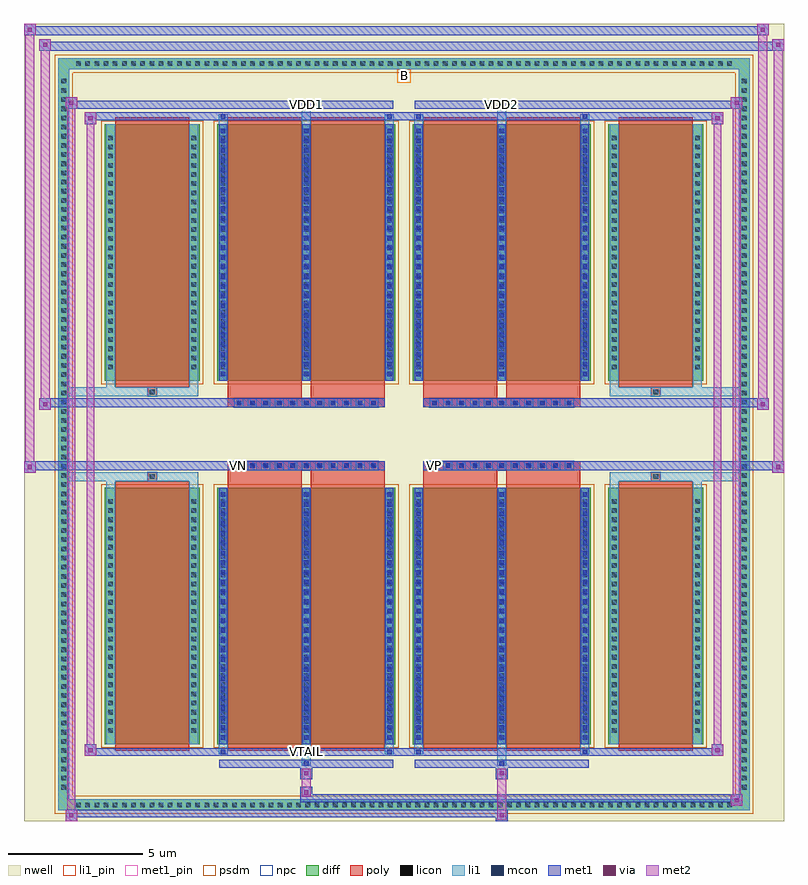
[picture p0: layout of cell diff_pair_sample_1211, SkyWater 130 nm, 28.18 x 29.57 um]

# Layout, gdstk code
import gdstk
lib = gdstk.Library(unit=1e-6, precision=5e-09)
def R(c, l, rs):  # rectangles x0, y0, x1, y1
    for r in rs: c.add(gdstk.rectangle(r[:2], r[2:], *l))
def A(c, l, x, y, w, h, nx, ny, dx, dy):  # array of equal rectangles
    R(c, l, [(x+i*dx, y+j*dy, x+i*dx+w, y+j*dy+h) for i in range(nx) for j in range(ny)])
def P(c, l, *ps):  # polygons
    for p in ps: c.add(gdstk.Polygon(p, *l))
nwell = (64, 20)
diff = (65, 20)
poly = (66, 20)
licon = (66, 44)
li1_pin = (67, 16)
li1 = (67, 20)
mcon = (67, 44)
met1_pin = (68, 16)
met1 = (68, 20)
via = (68, 44)
met2 = (69, 20)
psdm = (94, 20)
npc = (95, 20)

diff_pair_sample_1211 = lib.new_cell('diff_pair_sample_1211')
R(diff_pair_sample_1211, nwell, [(-14.09,-14.35,14.09,15.22), (-11.41,-12.54,-0.01,-0.8), (0.01,-12.54,11.41,-0.8), (-11.41,0.8,-0.01,12.54), (0.01,0.8,11.41,12.54)])
A(diff_pair_sample_1211, diff, -12.275, -13.95, 0.41, 0.41, 72, 2, 0.34, 27.49)
A(diff_pair_sample_1211, diff, -12.82, -13.295, 0.41, 0.41, 1, 78, 0, 0.34)
A(diff_pair_sample_1211, diff, 12.41, -13.295, 0.41, 0.41, 1, 78, 0, 0.34)
R(diff_pair_sample_1211, diff, [(-12.275,-13.95,12.275,-13.54), (-12.82,-13.295,-12.41,13.295), (12.41,-13.295,12.82,13.295), (-11.1,-11.495,-7.57,-1.985), (-6.93,-11.495,-0.32,-1.985), (0.32,-11.495,6.93,-1.985), (7.57,-11.495,11.1,-1.985), (-11.1,1.985,-7.57,11.495), (-6.93,1.985,-0.32,11.495), (0.32,1.985,6.93,11.495), (7.57,1.985,11.1,11.495), (-12.275,13.54,12.275,13.95)])
P(diff_pair_sample_1211, diff, [(12.82,13.95),(-12.82,13.95),(-12.82,-13.54),(-12.41,-13.54),(-12.41,13.54),(12.41,13.54),(12.41,-13.54),(-12.41,-13.54),(-12.82,-13.54),(-12.82,-13.95),(12.82,-13.95)])
A(diff_pair_sample_1211, poly, -6.29, -1.33, 0.33, 0.33, 11, 2, 0.5, 2.33)
A(diff_pair_sample_1211, poly, 0.96, -1.33, 0.33, 0.33, 11, 2, 0.5, 2.33)
R(diff_pair_sample_1211, poly, [(-10.71,-11.745,-7.96,-1.735), (-6.54,-11.745,-3.79,-1.735), (-3.46,-11.745,-0.71,-1.735), (0.71,-11.745,3.46,-1.735), (3.79,-11.745,6.54,-1.735), (7.96,-11.745,10.71,-1.735), (-9.5,-1.735,-9.17,-1.405), (-9.5,-1.735,-9.17,-1.405), (-6.54,-1.735,-3.79,-1.33), (-3.46,-1.735,-0.71,-1.33), (0.71,-1.735,3.46,-1.33), (3.79,-1.735,6.54,-1.33), (9.17,-1.735,9.5,-1.405), (9.17,-1.735,9.5,-1.405), (-6.54,-1.33,-0.71,-1), (0.71,-1.33,6.54,-1), (-6.54,1,-0.71,1.33), (0.71,1,6.54,1.33), (-6.54,1.33,-3.79,1.735), (-3.46,1.33,-0.71,1.735), (0.71,1.33,3.46,1.735), (3.79,1.33,6.54,1.735), (-9.5,1.405,-9.17,1.735), (-9.5,1.405,-9.17,1.735), (9.17,1.405,9.5,1.735), (9.17,1.405,9.5,1.735), (-10.71,1.735,-7.96,11.745), (-6.54,1.735,-3.79,11.745), (-3.46,1.735,-0.71,11.745), (0.71,1.735,3.46,11.745), (3.79,1.735,6.54,11.745), (7.96,1.735,10.71,11.745)])
A(diff_pair_sample_1211, licon, -12.155, -13.83, 0.17, 0.17, 72, 2, 0.34, 27.49)
A(diff_pair_sample_1211, licon, -12.7, -13.175, 0.17, 0.17, 1, 78, 0, 0.34)
A(diff_pair_sample_1211, licon, 12.53, -13.175, 0.17, 0.17, 1, 78, 0, 0.34)
A(diff_pair_sample_1211, licon, -10.96, -11.075, 0.17, 0.17, 1, 26, 0, 0.34)
A(diff_pair_sample_1211, licon, -7.88, -11.075, 0.17, 0.17, 1, 26, 0, 0.34)
A(diff_pair_sample_1211, licon, -6.79, -11.075, 0.17, 0.17, 3, 26, 3.08, 0.34)
A(diff_pair_sample_1211, licon, 0.46, -11.075, 0.17, 0.17, 3, 26, 3.08, 0.34)
A(diff_pair_sample_1211, licon, 7.71, -11.075, 0.17, 0.17, 1, 26, 0, 0.34)
A(diff_pair_sample_1211, licon, 10.79, -11.075, 0.17, 0.17, 1, 26, 0, 0.34)
A(diff_pair_sample_1211, licon, -6.21, -1.25, 0.17, 0.17, 11, 2, 0.5, 2.33)
A(diff_pair_sample_1211, licon, 1.04, -1.25, 0.17, 0.17, 11, 2, 0.5, 2.33)
A(diff_pair_sample_1211, licon, -10.96, 2.405, 0.17, 0.17, 1, 26, 0, 0.34)
A(diff_pair_sample_1211, licon, -7.88, 2.405, 0.17, 0.17, 1, 26, 0, 0.34)
A(diff_pair_sample_1211, licon, -6.79, 2.405, 0.17, 0.17, 3, 26, 3.08, 0.34)
A(diff_pair_sample_1211, licon, 0.46, 2.405, 0.17, 0.17, 3, 26, 3.08, 0.34)
A(diff_pair_sample_1211, licon, 7.71, 2.405, 0.17, 0.17, 1, 26, 0, 0.34)
A(diff_pair_sample_1211, licon, 10.79, 2.405, 0.17, 0.17, 1, 26, 0, 0.34)
R(diff_pair_sample_1211, licon, [(-9.42,-1.655,-9.25,-1.485), (9.25,-1.655,9.42,-1.485), (-9.42,1.485,-9.25,1.655), (9.25,1.485,9.42,1.655)])
R(diff_pair_sample_1211, li1_pin, [(-0.25,13.04,0.25,13.54)])
A(diff_pair_sample_1211, li1, -12.235, -13.91, 0.33, 0.33, 72, 2, 0.34, 27.49)
A(diff_pair_sample_1211, li1, -12.78, -13.255, 0.33, 0.33, 1, 78, 0, 0.34)
A(diff_pair_sample_1211, li1, 12.45, -13.255, 0.33, 0.33, 1, 78, 0, 0.34)
A(diff_pair_sample_1211, li1, -6.87, -11.495, 0.33, 9.51, 3, 2, 3.08, 13.48)
A(diff_pair_sample_1211, li1, 0.38, -11.495, 0.33, 9.51, 3, 2, 3.08, 13.48)
A(diff_pair_sample_1211, li1, -6.79, -11.325, 0.17, 0.17, 3, 26, 3.08, 0.36)
A(diff_pair_sample_1211, li1, -6.79, -11.325, 0.17, 9.17, 3, 2, 3.08, 13.48)
A(diff_pair_sample_1211, li1, 0.46, -11.325, 0.17, 0.17, 3, 26, 3.08, 0.36)
A(diff_pair_sample_1211, li1, 0.46, -11.325, 0.17, 9.17, 3, 2, 3.08, 13.48)
A(diff_pair_sample_1211, li1, -11.04, -11.155, 0.33, 0.33, 1, 26, 0, 0.34)
A(diff_pair_sample_1211, li1, -7.96, -11.155, 0.33, 0.33, 1, 26, 0, 0.34)
A(diff_pair_sample_1211, li1, -6.87, -11.155, 0.33, 0.33, 3, 26, 3.08, 0.34)
A(diff_pair_sample_1211, li1, 0.38, -11.155, 0.33, 0.33, 3, 26, 3.08, 0.34)
A(diff_pair_sample_1211, li1, 7.63, -11.155, 0.33, 0.33, 1, 26, 0, 0.34)
A(diff_pair_sample_1211, li1, 10.71, -11.155, 0.33, 0.33, 1, 26, 0, 0.34)
A(diff_pair_sample_1211, li1, -6.29, -1.33, 0.33, 0.33, 11, 2, 0.5, 2.33)
A(diff_pair_sample_1211, li1, 0.96, -1.33, 0.33, 0.33, 11, 2, 0.5, 2.33)
A(diff_pair_sample_1211, li1, -6.79, 2.155, 0.17, 0.17, 3, 26, 3.08, 0.36)
A(diff_pair_sample_1211, li1, 0.46, 2.155, 0.17, 0.17, 3, 26, 3.08, 0.36)
A(diff_pair_sample_1211, li1, -11.04, 2.325, 0.33, 0.33, 1, 26, 0, 0.34)
A(diff_pair_sample_1211, li1, -7.96, 2.325, 0.33, 0.33, 1, 26, 0, 0.34)
A(diff_pair_sample_1211, li1, -6.87, 2.325, 0.33, 0.33, 3, 26, 3.08, 0.34)
A(diff_pair_sample_1211, li1, 0.38, 2.325, 0.33, 0.33, 3, 26, 3.08, 0.34)
A(diff_pair_sample_1211, li1, 7.63, 2.325, 0.33, 0.33, 1, 26, 0, 0.34)
A(diff_pair_sample_1211, li1, 10.71, 2.325, 0.33, 0.33, 1, 26, 0, 0.34)
R(diff_pair_sample_1211, li1, [(-12.82,-13.95,-12.41,-13.54), (-12.82,-13.95,-12.41,-13.54), (-12.41,-13.95,12.41,-13.54), (12.41,-13.95,12.82,-13.54), (12.41,-13.95,12.82,-13.54), (-12.82,-13.54,-12.41,13.54), (12.41,-13.54,12.82,13.54), (-3.79,-12.3,-3.46,-11.495), (-3.71,-12.3,-3.54,-12.13), (3.46,-12.3,3.79,-11.495), (3.54,-12.3,3.71,-12.13), (-6.87,-11.87,-6.54,-11.495), (-6.79,-11.87,-6.62,-11.7), (-0.71,-11.87,-0.38,-11.495), (-0.63,-11.87,-0.46,-11.7), (0.38,-11.87,0.71,-11.495), (0.46,-11.87,0.63,-11.7), (6.54,-11.87,6.87,-11.495), (6.62,-11.87,6.79,-11.7), (-11.04,-11.495,-10.71,-1.985), (-7.96,-11.495,-7.63,-1.985), (7.63,-11.495,7.96,-1.985), (10.71,-11.495,11.04,-1.985), (-11.04,-1.985,-10.71,-1.405), (-7.96,-1.985,-7.63,-1.405), (7.63,-1.985,7.96,-1.405), (10.71,-1.985,11.04,-1.405), (-12.82,-1.735,-9.5,-1.405), (-11.04,-1.735,-9.5,-1.405), (-9.5,-1.735,-9.17,-1.405), (-9.17,-1.735,-7.63,-1.405), (7.63,-1.735,9.17,-1.405), (9.17,-1.735,9.5,-1.405), (9.17,-1.735,12.82,-1.405), (9.5,-1.735,11.04,-1.405), (-12.82,1.405,-9.5,1.735), (-11.04,1.405,-9.5,1.735), (-11.04,1.405,-10.71,1.985), (-9.5,1.405,-9.17,1.735), (-9.17,1.405,-7.63,1.735), (-7.96,1.405,-7.63,1.985), (7.63,1.405,9.17,1.735), (7.63,1.405,7.96,1.985), (9.17,1.405,9.5,1.735), (9.17,1.405,12.82,1.735), (9.5,1.405,11.04,1.735), (10.71,1.405,11.04,1.985), (-11.04,1.985,-10.71,11.495), (-7.96,1.985,-7.63,11.495), (7.63,1.985,7.96,11.495), (10.71,1.985,11.04,11.495), (-6.87,11.495,-6.54,11.87), (-3.79,11.495,-3.46,12.3), (-0.71,11.495,-0.38,11.87), (0.38,11.495,0.71,11.87), (3.46,11.495,3.79,12.3), (6.54,11.495,6.87,11.87), (-6.79,11.7,-6.62,11.87), (-0.63,11.7,-0.46,11.87), (0.46,11.7,0.63,11.87), (6.62,11.7,6.79,11.87), (-3.71,12.13,-3.54,12.3), (3.54,12.13,3.71,12.3), (-12.82,13.54,-12.41,13.95), (-12.82,13.54,-12.41,13.95), (-12.41,13.54,12.41,13.95), (12.41,13.54,12.82,13.95), (12.41,13.54,12.82,13.95)])
A(diff_pair_sample_1211, mcon, -6.79, -11.325, 0.17, 0.17, 3, 26, 3.08, 0.36)
A(diff_pair_sample_1211, mcon, 0.46, -11.325, 0.17, 0.17, 3, 26, 3.08, 0.36)
A(diff_pair_sample_1211, mcon, -6.21, -1.25, 0.17, 0.17, 11, 2, 0.5, 2.33)
A(diff_pair_sample_1211, mcon, 1.04, -1.25, 0.17, 0.17, 11, 2, 0.5, 2.33)
A(diff_pair_sample_1211, mcon, -6.79, 2.155, 0.17, 0.17, 3, 26, 3.08, 0.36)
A(diff_pair_sample_1211, mcon, 0.46, 2.155, 0.17, 0.17, 3, 26, 3.08, 0.36)
R(diff_pair_sample_1211, mcon, [(-3.71,-12.3,-3.54,-12.13), (3.54,-12.3,3.71,-12.13), (-6.79,-11.87,-6.62,-11.7), (-0.63,-11.87,-0.46,-11.7), (0.46,-11.87,0.63,-11.7), (6.62,-11.87,6.79,-11.7), (-6.79,11.7,-6.62,11.87), (-0.63,11.7,-0.46,11.87), (0.46,11.7,0.63,11.87), (6.62,11.7,6.79,11.87), (-3.71,12.13,-3.54,12.3), (3.54,12.13,3.71,12.3)])
R(diff_pair_sample_1211, met1_pin, [(-3.76,-11.91,-3.49,-11.64), (-6.26,-1.29,-5.99,-1.02), (0.99,-1.29,1.26,-1.02), (-3.76,12.09,-3.49,12.36), (3.49,12.09,3.76,12.36)])
A(diff_pair_sample_1211, met1, -6.85, -11.495, 0.29, 9.51, 3, 2, 3.08, 13.48)
A(diff_pair_sample_1211, met1, 0.4, -11.495, 0.29, 9.51, 3, 2, 3.08, 13.48)
A(diff_pair_sample_1211, met1, -6.85, -11.385, 0.29, 0.29, 3, 26, 3.08, 0.36)
A(diff_pair_sample_1211, met1, 0.4, -11.385, 0.29, 0.29, 3, 26, 3.08, 0.36)
A(diff_pair_sample_1211, met1, -6.27, -1.31, 0.29, 0.29, 11, 2, 0.5, 2.33)
A(diff_pair_sample_1211, met1, 0.98, -1.31, 0.29, 0.29, 11, 2, 0.5, 2.33)
A(diff_pair_sample_1211, met1, -6.85, 2.095, 0.29, 0.29, 3, 26, 3.08, 0.36)
A(diff_pair_sample_1211, met1, 0.4, 2.095, 0.29, 0.29, 3, 26, 3.08, 0.36)
R(diff_pair_sample_1211, met1, [(-12.55,-14.35,-12.12,-13.92), (3.41,-14.35,3.84,-13.92), (-12.55,-14.21,3.84,-13.92), (12.12,-13.78,12.55,-13.35), (-3.84,-13.64,12.55,-13.35), (-3.84,-13.5,-3.41,-13.07), (-3.84,-12.79,-3.41,-12.36), (3.41,-12.79,3.84,-12.36), (-6.85,-12.36,-0.4,-12.07), (-3.77,-12.36,-3.48,-12.07), (0.4,-12.36,6.85,-12.07), (3.48,-12.36,3.77,-12.07), (-11.84,-11.93,-11.41,-11.5), (-11.84,-11.93,-6.85,-11.64), (-6.85,-11.93,-6.56,-11.64), (-6.85,-11.93,-0.4,-11.64), (-0.69,-11.93,-0.4,-11.64), (-0.4,-11.93,0.4,-11.64), (0.4,-11.93,0.69,-11.64), (0.4,-11.93,6.85,-11.64), (6.56,-11.93,6.85,-11.64), (6.85,-11.93,11.84,-11.64), (11.41,-11.93,11.84,-11.5), (-14.09,-1.43,-13.66,-1), (13.66,-1.43,14.09,-1), (-14.09,-1.33,-0.71,-1), (-6.54,-1.33,-0.71,-1), (0.71,-1.33,6.54,-1), (0.71,-1.33,14.09,-1), (-13.52,0.9,-13.09,1.33), (13.09,0.9,13.52,1.33), (-13.52,1,-6.54,1.33), (-6.54,1,-0.71,1.33), (0.71,1,6.54,1.33), (6.54,1,13.52,1.33), (-11.84,11.5,-11.41,11.93), (11.41,11.5,11.84,11.93), (-11.84,11.64,-6.85,11.93), (-6.85,11.64,-6.56,11.93), (-6.85,11.64,-0.4,11.93), (-0.69,11.64,-0.4,11.93), (-0.4,11.64,0.4,11.93), (0.4,11.64,0.69,11.93), (0.4,11.64,6.85,11.93), (6.56,11.64,6.85,11.93), (6.85,11.64,11.84,11.93), (-12.55,12.07,-12.12,12.5), (-12.55,12.07,-6.85,12.36), (-6.85,12.07,-0.4,12.36), (-3.77,12.07,-3.48,12.36), (0.4,12.07,6.85,12.36), (3.48,12.07,3.77,12.36), (6.85,12.07,12.55,12.36), (12.12,12.07,12.55,12.5), (-13.52,14.22,-13.09,14.65), (-13.52,14.22,-11.41,14.55), (-11.41,14.22,11.41,14.55), (11.41,14.22,14.09,14.55), (13.66,14.22,14.09,14.65), (-14.09,14.79,-13.66,15.22), (-14.09,14.79,-11.41,15.12), (-11.41,14.79,11.41,15.12), (11.41,14.79,13.52,15.12), (13.09,14.79,13.52,15.22)])
R(diff_pair_sample_1211, via, [(-12.41,-14.21,-12.26,-14.06), (3.55,-14.21,3.7,-14.06), (12.26,-13.64,12.41,-13.49), (-3.7,-13.36,-3.55,-13.21), (-3.7,-12.65,-3.55,-12.5), (3.55,-12.65,3.7,-12.5), (-11.7,-11.79,-11.55,-11.64), (11.55,-11.79,11.7,-11.64), (-13.95,-1.29,-13.8,-1.14), (13.8,-1.29,13.95,-1.14), (-13.38,1.04,-13.23,1.19), (13.23,1.04,13.38,1.19), (-11.7,11.64,-11.55,11.79), (11.55,11.64,11.7,11.79), (-12.41,12.21,-12.26,12.36), (12.26,12.21,12.41,12.36), (-13.38,14.36,-13.23,14.51), (13.8,14.36,13.95,14.51), (-13.95,14.93,-13.8,15.08), (13.23,14.93,13.38,15.08)])
R(diff_pair_sample_1211, met2, [(-12.55,-14.35,-12.12,-13.92), (-12.48,-14.35,-12.19,12.5), (-12.19,-14.35,-12.12,-13.92), (-12.5,-14.3,-12.17,-13.97), (3.46,-14.3,3.79,-13.97), (3.46,-13.97,3.79,-12.74), (12.12,-13.78,12.55,-13.35), (12.19,-13.78,12.48,12.5), (12.48,-13.78,12.55,-13.35), (12.17,-13.73,12.5,-13.4), (-3.79,-13.45,-3.46,-13.12), (-3.79,-13.12,-3.46,-12.74), (-3.79,-12.74,-3.46,-12.41), (3.46,-12.74,3.79,-12.41), (-11.84,-11.93,-11.41,-11.5), (-11.77,-11.93,-11.48,11.93), (-11.48,-11.93,-11.41,-11.5), (11.41,-11.93,11.84,-11.5), (11.48,-11.93,11.77,11.93), (11.77,-11.93,11.84,-11.5), (-11.79,-11.88,-11.46,-11.55), (11.46,-11.88,11.79,-11.55), (-14.09,-1.43,-13.66,-1), (-14.04,-1.43,-13.71,15.22), (-13.71,-1.43,-13.66,-1), (13.66,-1.43,14.09,-1), (13.71,-1.43,14.04,14.65), (14.04,-1.43,14.09,-1), (-14.04,-1.38,-13.71,-1.05), (13.71,-1.38,14.04,-1.05), (-13.52,0.9,-13.09,1.33), (-13.47,0.9,-13.14,14.65), (-13.14,0.9,-13.09,1.33), (13.09,0.9,13.52,1.33), (13.14,0.9,13.47,15.22), (13.47,0.9,13.52,1.33), (-13.47,0.95,-13.14,1.28), (13.14,0.95,13.47,1.28), (-11.84,11.5,-11.41,11.93), (-11.48,11.5,-11.41,11.93), (11.41,11.5,11.84,11.93), (11.77,11.5,11.84,11.93), (-11.79,11.55,-11.46,11.88), (11.46,11.55,11.79,11.88), (-12.55,12.07,-12.12,12.5), (-12.19,12.07,-12.12,12.5), (12.12,12.07,12.55,12.5), (12.48,12.07,12.55,12.5), (-12.5,12.12,-12.17,12.45), (12.17,12.12,12.5,12.45), (-13.52,14.22,-13.09,14.65), (-13.14,14.22,-13.09,14.65), (13.66,14.22,14.09,14.65), (14.04,14.22,14.09,14.65), (-13.47,14.27,-13.14,14.6), (13.71,14.27,14.04,14.6), (-14.09,14.79,-13.66,15.22), (-13.71,14.79,-13.66,15.22), (13.09,14.79,13.52,15.22), (13.47,14.79,13.52,15.22), (-14.04,14.84,-13.71,15.17), (13.14,14.84,13.47,15.17)])
R(diff_pair_sample_1211, psdm, [(-11.23,-11.625,-7.44,-1.855), (-7.06,-11.625,-0.19,-1.855), (0.19,-11.625,7.06,-1.855), (7.44,-11.625,11.23,-1.855), (-11.23,1.855,-7.44,11.625), (-7.06,1.855,-0.19,11.625), (0.19,1.855,7.06,11.625), (7.44,1.855,11.23,11.625)])
P(diff_pair_sample_1211, psdm, [(12.95,14.08),(-12.95,14.08),(-12.95,-13.41),(-12.28,-13.41),(-12.28,13.41),(12.28,13.41),(12.28,-13.41),(-12.28,-13.41),(-12.95,-13.41),(-12.95,-14.08),(12.95,-14.08)])
A(diff_pair_sample_1211, npc, -6.31, -1.35, 0.37, 0.37, 11, 2, 0.5, 2.33)
A(diff_pair_sample_1211, npc, 0.94, -1.35, 0.37, 0.37, 11, 2, 0.5, 2.33)
R(diff_pair_sample_1211, npc, [(-9.52,-1.755,-9.15,-1.385), (9.15,-1.755,9.52,-1.385), (-6.31,-1.35,-5.44,-0.98), (-6.31,-1.35,-5.44,-0.98), (-5.81,-1.35,-4.94,-0.98), (-5.81,-1.35,-4.94,-0.98), (-5.31,-1.35,-4.44,-0.98), (-5.31,-1.35,-4.44,-0.98), (-4.81,-1.35,-3.94,-0.98), (-4.81,-1.35,-3.94,-0.98), (-4.31,-1.35,-3.44,-0.98), (-4.31,-1.35,-3.44,-0.98), (-3.81,-1.35,-2.94,-0.98), (-3.81,-1.35,-2.94,-0.98), (-3.31,-1.35,-2.44,-0.98), (-3.31,-1.35,-2.44,-0.98), (-2.81,-1.35,-1.94,-0.98), (-2.81,-1.35,-1.94,-0.98), (-2.31,-1.35,-1.44,-0.98), (-2.31,-1.35,-1.44,-0.98), (-1.81,-1.35,-0.94,-0.98), (-1.81,-1.35,-0.94,-0.98), (0.94,-1.35,1.81,-0.98), (0.94,-1.35,1.81,-0.98), (1.44,-1.35,2.31,-0.98), (1.44,-1.35,2.31,-0.98), (1.94,-1.35,2.81,-0.98), (1.94,-1.35,2.81,-0.98), (2.44,-1.35,3.31,-0.98), (2.44,-1.35,3.31,-0.98), (2.94,-1.35,3.81,-0.98), (2.94,-1.35,3.81,-0.98), (3.44,-1.35,4.31,-0.98), (3.44,-1.35,4.31,-0.98), (3.94,-1.35,4.81,-0.98), (3.94,-1.35,4.81,-0.98), (4.44,-1.35,5.31,-0.98), (4.44,-1.35,5.31,-0.98), (4.94,-1.35,5.81,-0.98), (4.94,-1.35,5.81,-0.98), (5.44,-1.35,6.31,-0.98), (5.44,-1.35,6.31,-0.98), (-6.31,0.98,-5.44,1.35), (-6.31,0.98,-5.44,1.35), (-5.81,0.98,-4.94,1.35), (-5.81,0.98,-4.94,1.35), (-5.31,0.98,-4.44,1.35), (-5.31,0.98,-4.44,1.35), (-4.81,0.98,-3.94,1.35), (-4.81,0.98,-3.94,1.35), (-4.31,0.98,-3.44,1.35), (-4.31,0.98,-3.44,1.35), (-3.81,0.98,-2.94,1.35), (-3.81,0.98,-2.94,1.35), (-3.31,0.98,-2.44,1.35), (-3.31,0.98,-2.44,1.35), (-2.81,0.98,-1.94,1.35), (-2.81,0.98,-1.94,1.35), (-2.31,0.98,-1.44,1.35), (-2.31,0.98,-1.44,1.35), (-1.81,0.98,-0.94,1.35), (-1.81,0.98,-0.94,1.35), (0.94,0.98,1.81,1.35), (0.94,0.98,1.81,1.35), (1.44,0.98,2.31,1.35), (1.44,0.98,2.31,1.35), (1.94,0.98,2.81,1.35), (1.94,0.98,2.81,1.35), (2.44,0.98,3.31,1.35), (2.44,0.98,3.31,1.35), (2.94,0.98,3.81,1.35), (2.94,0.98,3.81,1.35), (3.44,0.98,4.31,1.35), (3.44,0.98,4.31,1.35), (3.94,0.98,4.81,1.35), (3.94,0.98,4.81,1.35), (4.44,0.98,5.31,1.35), (4.44,0.98,5.31,1.35), (4.94,0.98,5.81,1.35), (4.94,0.98,5.81,1.35), (5.44,0.98,6.31,1.35), (5.44,0.98,6.31,1.35), (-9.52,1.385,-9.15,1.755), (9.15,1.385,9.52,1.755)])
diff_pair_sample_1211.add(gdstk.Label('VTAIL', (-3.625,-11.775), layer=68, texttype=5))
diff_pair_sample_1211.add(gdstk.Label('VN', (-6.125,-1.155), layer=68, texttype=5))
diff_pair_sample_1211.add(gdstk.Label('VP', (1.125,-1.155), layer=68, texttype=5))
diff_pair_sample_1211.add(gdstk.Label('B', (0,13.29), layer=67, texttype=5))
diff_pair_sample_1211.add(gdstk.Label('VDD2', (3.625,12.225), layer=68, texttype=5))
diff_pair_sample_1211.add(gdstk.Label('VDD1', (-3.625,12.225), layer=68, texttype=5))

lib.write_gds('diff_pair_sample_1211.gds')
